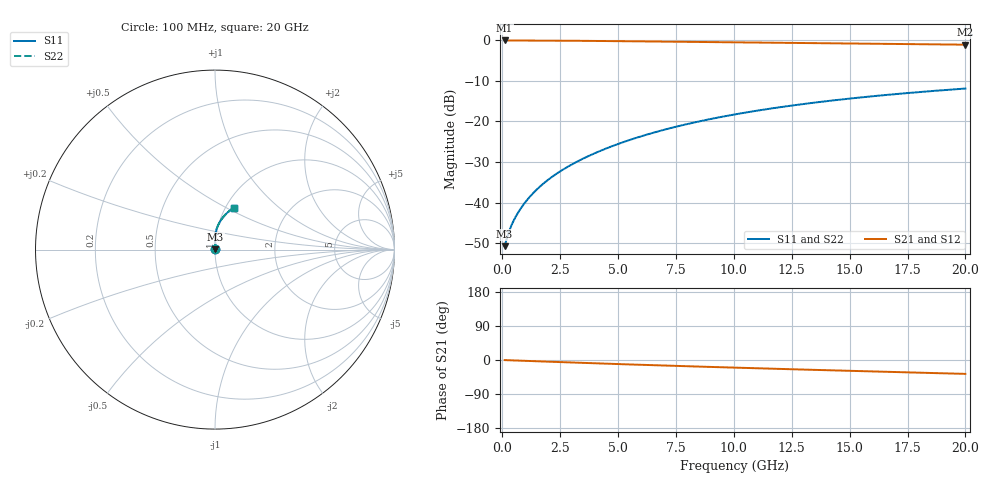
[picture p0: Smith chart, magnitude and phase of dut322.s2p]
! Touchstone file exported from HFSS 2024.1.0
!  File:  C:/UserFiles/LocalFiles/RDL_TSV_Batchsim/temp_RDL_bottom_322_1779611105.aedt
!  Generated:  04:27:27 PM May 24, 2026
!  Design:  RDL_bottom
!  Project:  temp_RDL_bottom_322_1779611105
!  Setup:  Setup1
!  Solution:  Sweep
! Variables:
!  dtsv = 10.80580581um
!  hbump = 3um
!  htsv = 83.76um
!  ldown = 578.22um
!  lrdl = 100um
!  p = 40
!  p1 = 43.06um
!  rhole = 1um
!  t = 450um
!  tdown = 3.24um
!  trdl = 3.915915916um
!  wdown = 26.91um
!  wrdl = 20um
# GHz S MA R 50.000000
! Terminal data exported
! Port[1] = RDL1_T1
! Port[2] = RDL1_T2
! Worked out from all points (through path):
!   200 points, 100 MHz to 20 GHz, reference 50 ohm
!   highest |S21| = -0.02 dB at 100 MHz (marker M1); lowest = -1.1 dB at 20 GHz (marker M2)
!   group delay of S21, straight-line fit = 5.02 ps
!   lowest |S11| = -50.8 dB at 100 MHz (marker M3), VSWR 1.01, Z = 50.3 + j0.123 ohm
!   |S11| at or under -10 dB: start of sweep to end of sweep
!   |S22| runs from -50.8 to -11.9 dB; largest |S21 - S12| = 2.7e-15
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0.1  0.002897 24.9  0.9974 -0.2  0.9974 -0.2  0.002897 24.9
! Gamma 0 0 0 0
! Port Impedance 50 0 50 0
0.2  0.003652 39.6  0.9971 -0.5  0.9971 -0.5  0.003652 39.6
0.3  0.004473 47.9  0.9969 -0.7  0.9969 -0.7  0.004473 47.9
0.4  0.005277 53.5  0.9967 -0.9  0.9967 -0.9  0.005277 53.5
0.5  0.006066 57.9  0.9965 -1.1  0.9965 -1.1  0.006066 57.8
0.8  0.008475 67.1  0.9959 -1.8  0.9959 -1.8  0.008475 67.1
1  0.01015 71.3  0.9955 -2.2  0.9955 -2.2  0.01015 71.3
1.2  0.01189 74.6  0.9951 -2.7  0.9951 -2.7  0.01189 74.6
1.7  0.01643 80.2  0.9939 -3.8  0.9939 -3.8  0.01643 80.2
2.2  0.02125 83.7  0.9922 -4.9  0.9922 -4.9  0.02125 83.7
2.8  0.02736 86.5  0.9899 -6.2  0.9899 -6.2  0.02735 86.4
3.5  0.03494 88.5  0.9866 -7.6  0.9866 -7.6  0.03493 88.4
4.2  0.043 89.6  0.9828 -9.1  0.9828 -9.1  0.04299 89.6
5  0.05275 90.1  0.9781 -10.7  0.9781 -10.7  0.05274 90.1
5.9  0.06432 90.0  0.9724 -12.5  0.9724 -12.5  0.0643 90.0
6.8  0.0764 89.4  0.9665 -14.2  0.9665 -14.2  0.07637 89.3
8.4  0.09871 87.4  0.9557 -17.2  0.9557 -17.2  0.09867 87.3
10.1  0.123 84.6  0.9445 -20.3  0.9445 -20.3  0.1229 84.5
11.7  0.1458 81.6  0.9341 -23.0  0.9341 -23.0  0.1457 81.6
13.4  0.1696 78.3  0.9235 -25.9  0.9235 -25.9  0.1695 78.3
16.7  0.2138 72.0  0.9037 -31.4  0.9037 -31.4  0.2137 71.9
20  0.2545 65.8  0.8848 -36.6  0.8848 -36.6  0.2544 65.8
